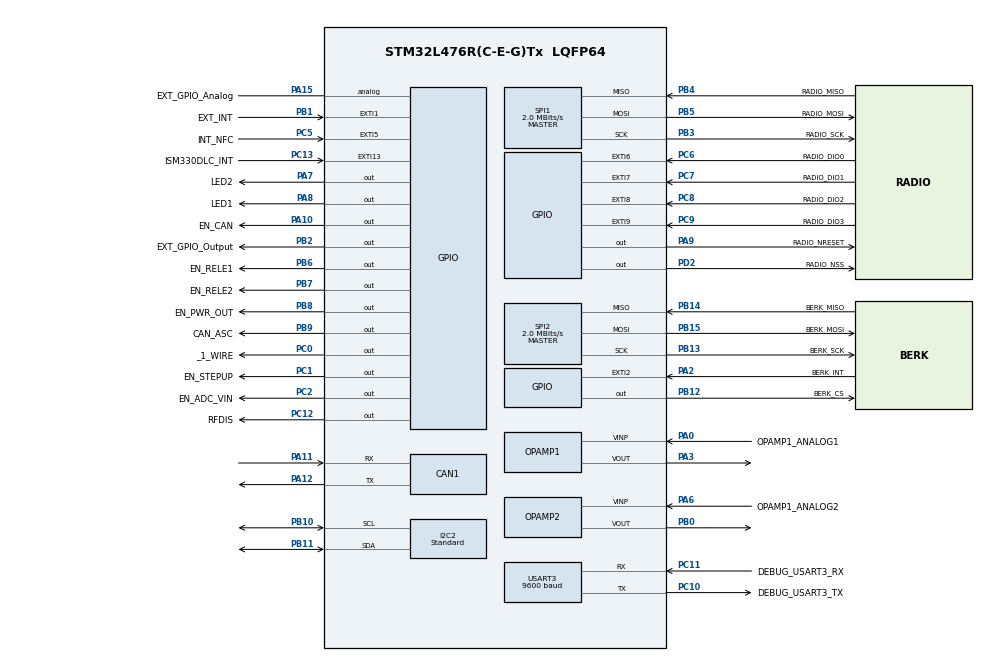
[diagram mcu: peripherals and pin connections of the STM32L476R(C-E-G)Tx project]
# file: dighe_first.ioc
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ADC1.Channel-7\#ChannelRegularConversion=ADC_CHANNEL_8
ADC1.NbrOfConversionFlag=1
ADC1.OffsetNumber-7\#ChannelRegularConversion=ADC_OFFSET_NONE
ADC1.Rank-7\#ChannelRegularConversion=1
ADC1.SamplingTime-7\#ChannelRegularConversion=ADC_SAMPLETIME_2CYCLES_5
ADC1.master=1
ADC2.Channel-0\#ChannelRegularConversion=ADC_CHANNEL_15
ADC2.NbrOfConversionFlag=1
ADC2.OffsetNumber-0\#ChannelRegularConversion=ADC_OFFSET_NONE
ADC2.Rank-0\#ChannelRegularConversion=1
ADC2.SamplingTime-0\#ChannelRegularConversion=ADC_SAMPLETIME_2CYCLES_5
CAN1.CalculateTimeQuantum=4000.0
I2C2.I2C_Speed_Mode=I2C_Standard
I2C2.Speed=100
I2C2.Timing=0x00000E14
Mcu.Family=STM32L4
Mcu.Name=STM32L476R(C-E-G)Tx
Mcu.Package=LQFP64
NVIC.PriorityGroup=NVIC_PRIORITYGROUP_4
OPAMP1.PowerSupplyRange=OPAMP_POWERSUPPLY_LOW
OPAMP2.PowerSupplyRange=OPAMP_POWERSUPPLY_LOW
PA0.GPIO_Label=OPAMP1_ANALOG1
PA0.Mode=PGA Not Connected
PA0.Signal=OPAMP1_VINP
PA10.GPIO_Label=EN_CAN
PA10.Signal=GPIO_Output
PA11.Mode=Master
PA11.Signal=CAN1_RX
PA12.Mode=Master
PA12.Signal=CAN1_TX
PA13\ (JTMS-SWDIO).Mode=Serial_Wire
PA13\ (JTMS-SWDIO).Signal=SYS_JTMS-SWDIO
PA14\ (JTCK-SWCLK).Mode=Serial_Wire
PA14\ (JTCK-SWCLK).Signal=SYS_JTCK-SWCLK
PA15\ (JTDI).GPIO_Label=EXT_GPIO_Analog
PA15\ (JTDI).Signal=GPIO_Analog
PA2.GPIO_Label=BERK_INT
PA2.Signal=GPXTI2
PA3.Mode=PGA Not Connected
PA3.Signal=OPAMP1_VOUT
PA6.GPIO_Label=OPAMP1_ANALOG2
PA6.Mode=PGA Not Connected
PA6.Signal=OPAMP2_VINP
PA7.GPIO_Label=LED2
PA7.Signal=GPIO_Output
PA8.GPIO_Label=LED1
PA8.Signal=GPIO_Output
PA9.GPIO_Label=RADIO_NRESET
PA9.Signal=GPIO_Output
PB0.Mode=PGA Not Connected
PB0.Signal=OPAMP2_VOUT
PB1.GPIO_Label=EXT_INT
PB1.Signal=GPXTI1
PB10.Mode=I2C
PB10.Signal=I2C2_SCL
PB11.Mode=I2C
PB11.Signal=I2C2_SDA
PB12.GPIO_Label=BERK_CS
PB12.Signal=GPIO_Output
PB13.GPIO_Label=BERK_SCK
PB13.Mode=Full_Duplex_Master
PB13.Signal=SPI2_SCK
PB14.GPIO_Label=BERK_MISO
PB14.Mode=Full_Duplex_Master
PB14.Signal=SPI2_MISO
PB15.GPIO_Label=BERK_MOSI
PB15.Mode=Full_Duplex_Master
PB15.Signal=SPI2_MOSI
PB2.GPIO_Label=EXT_GPIO_Output
PB2.Signal=GPIO_Output
PB3\ (JTDO-TRACESWO).GPIO_Label=RADIO_SCK
PB3\ (JTDO-TRACESWO).Mode=Full_Duplex_Master
PB3\ (JTDO-TRACESWO).Signal=SPI1_SCK
PB4\ (NJTRST).GPIO_Label=RADIO_MISO
PB4\ (NJTRST).Mode=Full_Duplex_Master
PB4\ (NJTRST).Signal=SPI1_MISO
PB5.GPIO_Label=RADIO_MOSI
PB5.Mode=Full_Duplex_Master
PB5.Signal=SPI1_MOSI
PB6.GPIO_Label=EN_RELE1
PB6.PinState=GPIO_PIN_SET
PB6.Signal=GPIO_Output
PB7.GPIO_Label=EN_RELE2
PB7.PinState=GPIO_PIN_SET
PB7.Signal=GPIO_Output
PB8.GPIO_Label=EN_PWR_OUT
PB8.PinState=GPIO_PIN_SET
PB8.Signal=GPIO_Output
PB9.GPIO_Label=CAN_ASC
PB9.Signal=GPIO_Output
PC0.GPIO_Label=_1_WIRE
PC0.Signal=GPIO_Output
PC1.GPIO_Label=EN_STEPUP
PC1.Signal=GPIO_Output
PC10.GPIO_Label=DEBUG_USART3_TX
PC10.Mode=Asynchronous
PC10.Signal=USART3_TX
PC11.GPIO_Label=DEBUG_USART3_RX
PC11.Mode=Asynchronous
PC11.Signal=USART3_RX
PC12.GPIO_Label=RFDIS
PC12.Signal=GPIO_Output
PC13.GPIO_Label=ISM330DLC_INT
PC13.Signal=GPXTI13
PC14-OSC32_IN\ (PC14).Mode=LSE-External-Oscillator
PC14-OSC32_IN\ (PC14).Signal=RCC_OSC32_IN
PC15-OSC32_OUT\ (PC15).Mode=LSE-External-Oscillator
PC15-OSC32_OUT\ (PC15).Signal=RCC_OSC32_OUT
PC2.GPIO_Label=EN_ADC_VIN
PC2.Signal=GPIO_Output
PC5.GPIO_Label=INT_NFC
PC5.Signal=GPXTI5
PC6.GPIO_Label=RADIO_DIO0
PC6.Signal=GPXTI6
PC7.GPIO_Label=RADIO_DIO1
PC7.Signal=GPXTI7
PC8.GPIO_Label=RADIO_DIO2
PC8.Signal=GPXTI8
PC9.GPIO_Label=RADIO_DIO3
PC9.Signal=GPXTI9
PD2.GPIO_Label=RADIO_NSS
PD2.Signal=GPIO_Output
PH0-OSC_IN\ (PH0).Mode=HSE-External-Oscillator
PH0-OSC_IN\ (PH0).Signal=RCC_OSC_IN
PH1-OSC_OUT\ (PH1).Mode=HSE-External-Oscillator
PH1-OSC_OUT\ (PH1).Signal=RCC_OSC_OUT
ProjectManager.HeapSize=0x200
ProjectManager.StackSize=0x400
ProjectManager.TargetToolchain=SW4STM32
RCC.ADCFreq_Value=80000000
RCC.HSE_VALUE=8000000
RCC.HSI_VALUE=16000000
RCC.MSI_VALUE=4000000
RCC.PLLSAI1N=10
RCC.PLLSourceVirtual=RCC_PLLSOURCE_HSI
RCC.USBFreq_Value=80000000
RCC.VCOOutputFreq_Value=128000000
SPI1.CalculateBaudRate=2.0 MBits/s
SPI1.Direction=SPI_DIRECTION_2LINES
SPI1.Mode=SPI_MODE_MASTER
SPI1.VirtualType=VM_MASTER
SPI2.CalculateBaudRate=2.0 MBits/s
SPI2.Direction=SPI_DIRECTION_2LINES
SPI2.Mode=SPI_MODE_MASTER
SPI2.VirtualType=VM_MASTER
USART3.BaudRate=9600
USART3.VirtualMode-Asynchronous=VM_ASYNC
VP_ADC1_OPAMP1_OUT.Mode=IN8-OPAMP1-Single-Ended
VP_ADC2_OPAMP2_OUT.Mode=IN15-OPAMP2-Single-Ended
VP_RTC_VS_RTC_Activate.Mode=RTC_Enabled
board=custom

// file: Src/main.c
/* USER CODE BEGIN Header */
/**
  ******************************************************************************
  * @file           : main.c
  * @brief          : Main program body
  ******************************************************************************
  ** This notice applies to any and all portions of this file
  * that are not between comment pairs USER CODE BEGIN and
  * USER CODE END. Other portions of this file, whether
  * inserted by the user or by software development tools
  * are owned by their respective copyright owners.
  *
  * COPYRIGHT(c) 2018 STMicroelectronics
  *
  * Redistribution and use in source and binary forms, with or without modification,
  * are permitted provided that the following conditions are met:
  *   1. Redistributions of source code must retain the above copyright notice,
  *      this list of conditions and the following disclaimer.
  *   2. Redistributions in binary form must reproduce the above copyright notice,
  *      this list of conditions and the following disclaimer in the documentation
  *      and/or other materials provided with the distribution.
  *   3. Neither the name of STMicroelectronics nor the names of its contributors
  *      may be used to endorse or promote products derived from this software
  *      without specific prior written permission.
  *
  * THIS SOFTWARE IS PROVIDED BY THE COPYRIGHT HOLDERS AND CONTRIBUTORS "AS IS"
  * AND ANY EXPRESS OR IMPLIED WARRANTIES, INCLUDING, BUT NOT LIMITED TO, THE
  * IMPLIED WARRANTIES OF MERCHANTABILITY AND FITNESS FOR A PARTICULAR PURPOSE ARE
  * DISCLAIMED. IN NO EVENT SHALL THE COPYRIGHT HOLDER OR CONTRIBUTORS BE LIABLE
  * FOR ANY DIRECT, INDIRECT, INCIDENTAL, SPECIAL, EXEMPLARY, OR CONSEQUENTIAL
  * DAMAGES (INCLUDING, BUT NOT LIMITED TO, PROCUREMENT OF SUBSTITUTE GOODS OR
  * SERVICES; LOSS OF USE, DATA, OR PROFITS; OR BUSINESS INTERRUPTION) HOWEVER
  * CAUSED AND ON ANY THEORY OF LIABILITY, WHETHER IN CONTRACT, STRICT LIABILITY,
  * OR TORT (INCLUDING NEGLIGENCE OR OTHERWISE) ARISING IN ANY WAY OUT OF THE USE
  * OF THIS SOFTWARE, EVEN IF ADVISED OF THE POSSIBILITY OF SUCH DAMAGE.
  *
  ******************************************************************************
  */
/* USER CODE END Header */

#include "main.h"
#include "adc.h"
#include "can.h"
#include "i2c.h"
#include "opamp.h"
#include "rtc.h"
#include "spi.h"
#include "usart.h"
#include "gpio.h"

/* USER CODE BEGIN Includes */
#include "ism330dlc/ism330dlc_reg.h"
#include "SHT2x/SHT2x.h"
#include "HTS221/HTS221Sensor.h"
#include "voltage/voltage.h"
#include <stdio.h>
#include <stdarg.h>
#define PRINTF(...)     vcom_Send(__VA_ARGS__)
#define BUFSIZE 128
/* USER CODE END Includes */

/* USER CODE BEGIN PV */
static axis3bit16_t data_raw_acceleration;
static axis3bit16_t data_raw_angular_rate;
static axis1bit16_t data_raw_temperature;
static float acceleration_mg[3];
static float angular_rate_mdps[3];
static float temperature_degC;
static uint8_t whoamI, rst;

char data[50];
/* USER CODE END PV */

void SystemClock_Config(void);

/* USER CODE BEGIN 0 */
static uint16_t iw;
static char buff[BUFSIZE+16];
void vcom_Send( char *format, ... )
{
  va_list args;
  va_start(args, format);

  /*convert into string at buff[0] of length iw*/
  iw = vsprintf(&buff[0], format, args);

  HAL_UART_Transmit(&huart3,(uint8_t *)&buff[0], iw, 300);

  va_end(args);
}
static int32_t platform_write(void *handle, uint8_t Reg, uint8_t *Bufp,
                              uint16_t len)
{
  if (handle == &hi2c2)
  {
    HAL_I2C_Mem_Write(handle, ISM330DLC_I2C_ADD_L, Reg,
                      I2C_MEMADD_SIZE_8BIT, Bufp, len, 1000);
  }
  return 0;
}
static int32_t platform_read(void *handle, uint8_t Reg, uint8_t *Bufp,
                             uint16_t len)
{
  if (handle == &hi2c2)
  {
      HAL_I2C_Mem_Read(handle, ISM330DLC_I2C_ADD_L, Reg,
                       I2C_MEMADD_SIZE_8BIT, Bufp, len, 1000);
  }
  return 0;
}
/* USER CODE END 0 */

int main(void)
{

  /* MCU Configuration--------------------------------------------------------*/

  /* Reset of all peripherals, Initializes the Flash interface and the Systick. */
  HAL_Init();

  /* Configure the system clock */
  SystemClock_Config();

  /* Initialize all configured peripherals */
  MX_GPIO_Init();
  MX_CAN1_Init();
  MX_I2C2_Init();
  MX_RTC_Init();
  MX_SPI1_Init();
  MX_SPI2_Init();
  MX_USART3_UART_Init();
  MX_OPAMP1_Init();
  MX_ADC1_Init();
  MX_OPAMP2_Init();
  MX_ADC2_Init();
  /* USER CODE BEGIN 2 */

  HAL_OPAMP_Start(&hopamp1);

  /*##-3- Calibrate ADC then Start the conversion process ####################*/
  if (HAL_ADCEx_Calibration_Start(&hadc1, ADC_SINGLE_ENDED) !=  HAL_OK)
  {
    /* ADC Calibration Error */
    Error_Handler();
  }

  PRINTF("START\n");

  HAL_GPIO_WritePin(LED1_GPIO_Port, LED1_Pin, GPIO_PIN_RESET);
  HAL_GPIO_WritePin(LED1_GPIO_Port, LED1_Pin, GPIO_PIN_SET);

  HAL_GPIO_WritePin(EN_STEPUP_GPIO_Port, EN_STEPUP_Pin, GPIO_PIN_RESET);
//  HAL_GPIO_WritePin(EN_STEPUP_GPIO_Port, EN_STEPUP_Pin, GPIO_PIN_SET);
////  HAL_GPIO_WritePin(EN_STEPUP_GPIO_Port, EN_STEPUP_Pin, GPIO_PIN_RESET);
////  HAL_GPIO_WritePin(EN_STEPUP_GPIO_Port, EN_STEPUP_Pin, GPIO_PIN_SET);
////  HAL_GPIO_WritePin(EN_STEPUP_GPIO_Port, EN_STEPUP_Pin, GPIO_PIN_RESET);

//  HAL_GPIO_WritePin(EN_PWR_OUT_GPIO_Port, EN_PWR_OUT_Pin, GPIO_PIN_SET);
//  HAL_GPIO_WritePin(EN_PWR_OUT_GPIO_Port, EN_PWR_OUT_Pin, GPIO_PIN_RESET);
////  HAL_GPIO_WritePin(EN_PWR_OUT_GPIO_Port, EN_PWR_OUT_Pin, GPIO_PIN_SET);
////  HAL_GPIO_WritePin(EN_PWR_OUT_GPIO_Port, EN_PWR_OUT_Pin, GPIO_PIN_RESET);
//
//  HAL_GPIO_WritePin(EN_RELE1_GPIO_Port, EN_RELE1_Pin, GPIO_PIN_RESET);
//  HAL_GPIO_WritePin(EN_RELE1_GPIO_Port, EN_RELE1_Pin, GPIO_PIN_SET);
//
//  HAL_GPIO_WritePin(EN_RELE2_GPIO_Port, EN_RELE2_Pin, GPIO_PIN_RESET);
//  HAL_GPIO_WritePin(EN_RELE2_GPIO_Port, EN_RELE2_Pin, GPIO_PIN_SET);
//
//  HAL_GPIO_WritePin(EN_PWR_OUT_GPIO_Port, EN_PWR_OUT_Pin, GPIO_PIN_SET);
//
////  HAL_GPIO_WritePin(EN_STEPUP_GPIO_Port, EN_STEPUP_Pin, GPIO_PIN_RESET);
//
//  HAL_GPIO_WritePin(EN_RELE2_GPIO_Port, EN_RELE1_Pin, GPIO_PIN_RESET);
//  HAL_GPIO_WritePin(EN_RELE2_GPIO_Port, EN_RELE1_Pin, GPIO_PIN_SET);

  HTS221Sensor(&hi2c2, HTS221_I2C_ADDRESS);
  HTS221SensorEnable();

  ism330dlc_ctx_t dev_ctx;
  dev_ctx.write_reg = platform_write;
  dev_ctx.read_reg = platform_read;
  dev_ctx.handle = &hi2c2;
  /*
   *  Check device ID
   */
  whoamI = 0;
  ism330dlc_device_id_get(&dev_ctx, &whoamI);
  /*
   *  Restore default configuration
   */
  ism330dlc_reset_set(&dev_ctx, PROPERTY_ENABLE);
  do {
    ism330dlc_reset_get(&dev_ctx, &rst);
  } while (rst);
  /*
   *  Enable Block Data Update
   */
  ism330dlc_block_data_update_set(&dev_ctx, PROPERTY_ENABLE);
  /*
   * Set Output Data Rate
   */
  ism330dlc_xl_data_rate_set(&dev_ctx, ISM330DLC_XL_ODR_12Hz5);
  ism330dlc_gy_data_rate_set(&dev_ctx, ISM330DLC_GY_ODR_12Hz5);
  /*
   * Set full scale
   */
  ism330dlc_xl_full_scale_set(&dev_ctx, ISM330DLC_2g);
  ism330dlc_gy_full_scale_set(&dev_ctx, ISM330DLC_2000dps);

  /*
   * Configure filtering chain(No aux interface)
   */
  /* Accelerometer - analog filter */
  ism330dlc_xl_filter_analog_set(&dev_ctx, ISM330DLC_XL_ANA_BW_400Hz);

  /* Accelerometer - LPF1 path ( LPF2 not used )*/
  //ism330dlc_xl_lp1_bandwidth_set(&dev_ctx, ISM330DLC_XL_LP1_ODR_DIV_4);

  /* Accelerometer - LPF1 + LPF2 path */
  ism330dlc_xl_lp2_bandwidth_set(&dev_ctx, ISM330DLC_XL_LOW_NOISE_LP_ODR_DIV_100);

  /* Accelerometer - High Pass / Slope path */
  //ism330dlc_xl_reference_mode_set(&dev_ctx, PROPERTY_DISABLE);
  //ism330dlc_xl_hp_bandwidth_set(&dev_ctx, ISM330DLC_XL_HP_ODR_DIV_100);

  /* Gyroscope - filtering chain */
  ism330dlc_gy_band_pass_set(&dev_ctx, ISM330DLC_HP_260mHz_LP1_STRONG);

  /* USER CODE END 2 */

  /* Infinite loop */
  /* USER CODE BEGIN WHILE */
  while (1)
  {
	  HAL_GPIO_TogglePin(LED1_GPIO_Port, LED1_Pin);
	  HAL_GPIO_TogglePin(LED2_GPIO_Port, LED2_Pin);
    /* USER CODE END WHILE */

    /* USER CODE BEGIN 3 */

//	 uint16_t s = 0;
//	 uint8_t res = 0;
//	 HAL_GPIO_WritePin(EN_STEPUP_GPIO_Port, EN_STEPUP_Pin, GPIO_PIN_SET);
//	 HAL_Delay(500);
//	 HAL_GPIO_WritePin(EN_PWR_OUT_GPIO_Port, EN_PWR_OUT_Pin, GPIO_PIN_RESET);
//	 HAL_Delay(100);
//	 res = get420(&s);
//	 HAL_Delay(100);
//	 if(res == 0)
//	 {
//		sprintf(data,"S1 ADC: %d", s);
//		PRINTF("%s\n", data);
//		sprintf(data,"S1 I: %f", (float)((double)s)*0.000008824359940);
//		PRINTF("%s\n", data);
//	 }
//	 HAL_GPIO_WritePin(EN_RELE2_GPIO_Port, EN_RELE2_Pin, GPIO_PIN_RESET);
//	 HAL_Delay(1000);
//	 res = get420(&s);
//	 HAL_Delay(100);
//	 if(res == 0)
//	 {
//		sprintf(data,"S2 ADC: %d", s);
//		PRINTF("%s\n", data);
//		sprintf(data,"S2 I: %f", (float)((double)s)*0.000008824359940);
//		PRINTF("%s\n", data);
//	 }
//	 HAL_GPIO_WritePin(EN_RELE2_GPIO_Port, EN_RELE2_Pin, GPIO_PIN_SET);
//	 HAL_Delay(100);
//	 HAL_GPIO_WritePin(EN_PWR_OUT_GPIO_Port, EN_PWR_OUT_Pin, GPIO_PIN_SET);
//	 HAL_Delay(100);
//	 HAL_GPIO_WritePin(EN_STEPUP_GPIO_Port, EN_STEPUP_Pin, GPIO_PIN_RESET);

//	uint16_t sT, sH;
//	float temperatureC, humidityH;           //variable for temperature[°C] as float
//	uint8_t  error = 0;              //variable for error code. For codes see system.h
//	error |= SHT2x_MeasureHM(TEMP, &sT);
//	temperatureC = SHT2x_CalcTemperatureC(sT);
//	sprintf((char*)data, "T: %6.2f\r\n", temperatureC );
//	PRINTF("%s\n", data);
//	error |= SHT2x_MeasureHM(HUMIDITY, &sH);
//	humidityH = SHT2x_CalcRH(sH);
//	sprintf((char*)data, "H: %6.2f\r\n", humidityH );
//	PRINTF("%s\n", data);

	  uint8_t id = 0;
	  HTS221SensorReadID(&id);
	  sprintf((char*)data, "id: %d\r\n", id );
	  PRINTF("%s\n", data);
	  float temp = 0;
	  HTS221SensorGetTemperature(&temp);
	  sprintf((char*)data, "Temp: %6.2f\r\n", temp );
	  PRINTF("%s\n", data);
	  float hum = 0;
	  HTS221SensorGetHumidity(&hum);
	  sprintf((char*)data, "Hum: %6.2f\r\n", hum );
	  PRINTF("%s\n", data);

	/*
	 * Read output only if new value is available
	 */
	ism330dlc_reg_t reg;
	ism330dlc_status_reg_get(&dev_ctx, &reg.status_reg);

	if (reg.status_reg.xlda)
	{
	  /* Read magnetic field data */
	  memset(data_raw_acceleration.u8bit, 0x00, 3*sizeof(int16_t));
	  ism330dlc_acceleration_raw_get(&dev_ctx, data_raw_acceleration.u8bit);
	  acceleration_mg[0] = ISM330DLC_FROM_FS_2g_TO_mg( data_raw_acceleration.i16bit[0]);
	  acceleration_mg[1] = ISM330DLC_FROM_FS_2g_TO_mg( data_raw_acceleration.i16bit[1]);
	  acceleration_mg[2] = ISM330DLC_FROM_FS_2g_TO_mg( data_raw_acceleration.i16bit[2]);

	  sprintf((char*)data, "Acceleration [mg]:%4.2f\t%4.2f\t%4.2f\r\n",
			  acceleration_mg[0], acceleration_mg[1], acceleration_mg[2]);
	  PRINTF("%s\n", data);
	}
	if (reg.status_reg.gda)
	{
	  /* Read magnetic field data */
	  memset(data_raw_angular_rate.u8bit, 0x00, 3*sizeof(int16_t));
	  ism330dlc_angular_rate_raw_get(&dev_ctx, data_raw_angular_rate.u8bit);
	  angular_rate_mdps[0] = ISM330DLC_FROM_FS_2000dps_TO_mdps(data_raw_angular_rate.i16bit[0]);
	  angular_rate_mdps[1] = ISM330DLC_FROM_FS_2000dps_TO_mdps(data_raw_angular_rate.i16bit[1]);
	  angular_rate_mdps[2] = ISM330DLC_FROM_FS_2000dps_TO_mdps(data_raw_angular_rate.i16bit[2]);

	  sprintf((char*)data, "Angular rate [mdps]:%4.2f\t%4.2f\t%4.2f\r\n",
			  angular_rate_mdps[0], angular_rate_mdps[1], angular_rate_mdps[2]);
	  PRINTF("%s\n", data);
	}
	if (reg.status_reg.tda)
	{
	  /* Read temperature data */
	  memset(data_raw_temperature.u8bit, 0x00, sizeof(int16_t));
	  ism330dlc_temperature_raw_get(&dev_ctx, data_raw_temperature.u8bit);
	  temperature_degC = ISM330DLC_FROM_LSB_TO_degC( data_raw_temperature.i16bit );

	  sprintf((char*)data, "Temperature [degC]:%6.2f\r\n", temperature_degC );
	  PRINTF("%s\n", data);
	}

	HAL_Delay(3000);
  }
  /* USER CODE END 3 */
}

void SystemClock_Config(void)
{
  RCC_OscInitTypeDef RCC_OscInitStruct = {0};
  RCC_ClkInitTypeDef RCC_ClkInitStruct = {0};
  RCC_PeriphCLKInitTypeDef PeriphClkInit = {0};

  /**Configure LSE Drive Capability
  */
  HAL_PWR_EnableBkUpAccess();
  __HAL_RCC_LSEDRIVE_CONFIG(RCC_LSEDRIVE_LOW);
  /**Initializes the CPU, AHB and APB busses clocks
  */
  RCC_OscInitStruct.OscillatorType = RCC_OSCILLATORTYPE_HSI|RCC_OSCILLATORTYPE_LSI
                              |RCC_OSCILLATORTYPE_LSE|RCC_OSCILLATORTYPE_MSI;
  RCC_OscInitStruct.LSEState = RCC_LSE_ON;
  RCC_OscInitStruct.HSIState = RCC_HSI_ON;
  RCC_OscInitStruct.HSICalibrationValue = RCC_HSICALIBRATION_DEFAULT;
  RCC_OscInitStruct.LSIState = RCC_LSI_ON;
  RCC_OscInitStruct.MSIState = RCC_MSI_ON;
  RCC_OscInitStruct.MSICalibrationValue = 0;
  RCC_OscInitStruct.MSIClockRange = RCC_MSIRANGE_6;
  RCC_OscInitStruct.PLL.PLLState = RCC_PLL_NONE;
  if (HAL_RCC_OscConfig(&RCC_OscInitStruct) != HAL_OK)
  {
    Error_Handler();
  }
  /**Initializes the CPU, AHB and APB busses clocks
  */
  RCC_ClkInitStruct.ClockType = RCC_CLOCKTYPE_HCLK|RCC_CLOCKTYPE_SYSCLK
                              |RCC_CLOCKTYPE_PCLK1|RCC_CLOCKTYPE_PCLK2;
  RCC_ClkInitStruct.SYSCLKSource = RCC_SYSCLKSOURCE_MSI;
  RCC_ClkInitStruct.AHBCLKDivider = RCC_SYSCLK_DIV1;
  RCC_ClkInitStruct.APB1CLKDivider = RCC_HCLK_DIV1;
  RCC_ClkInitStruct.APB2CLKDivider = RCC_HCLK_DIV1;

  if (HAL_RCC_ClockConfig(&RCC_ClkInitStruct, FLASH_LATENCY_0) != HAL_OK)
  {
    Error_Handler();
  }
  PeriphClkInit.PeriphClockSelection = RCC_PERIPHCLK_RTC|RCC_PERIPHCLK_USART3
                              |RCC_PERIPHCLK_I2C2|RCC_PERIPHCLK_ADC;
  PeriphClkInit.Usart3ClockSelection = RCC_USART3CLKSOURCE_PCLK1;
  PeriphClkInit.I2c2ClockSelection = RCC_I2C2CLKSOURCE_PCLK1;
  PeriphClkInit.AdcClockSelection = RCC_ADCCLKSOURCE_PLLSAI1;
  PeriphClkInit.RTCClockSelection = RCC_RTCCLKSOURCE_LSI;
  PeriphClkInit.PLLSAI1.PLLSAI1Source = RCC_PLLSOURCE_HSI;
  PeriphClkInit.PLLSAI1.PLLSAI1M = 1;
  PeriphClkInit.PLLSAI1.PLLSAI1N = 10;
  PeriphClkInit.PLLSAI1.PLLSAI1P = RCC_PLLP_DIV7;
  PeriphClkInit.PLLSAI1.PLLSAI1Q = RCC_PLLQ_DIV2;
  PeriphClkInit.PLLSAI1.PLLSAI1R = RCC_PLLR_DIV2;
  PeriphClkInit.PLLSAI1.PLLSAI1ClockOut = RCC_PLLSAI1_ADC1CLK;
  if (HAL_RCCEx_PeriphCLKConfig(&PeriphClkInit) != HAL_OK)
  {
    Error_Handler();
  }
  /**Configure the main internal regulator output voltage
  */
  if (HAL_PWREx_ControlVoltageScaling(PWR_REGULATOR_VOLTAGE_SCALE1) != HAL_OK)
  {
    Error_Handler();
  }
  /**Enable MSI Auto calibration
  */
  HAL_RCCEx_EnableMSIPLLMode();
}

void Error_Handler(void)
{
}

/************************ (C) COPYRIGHT STMicroelectronics *****END OF FILE****/
